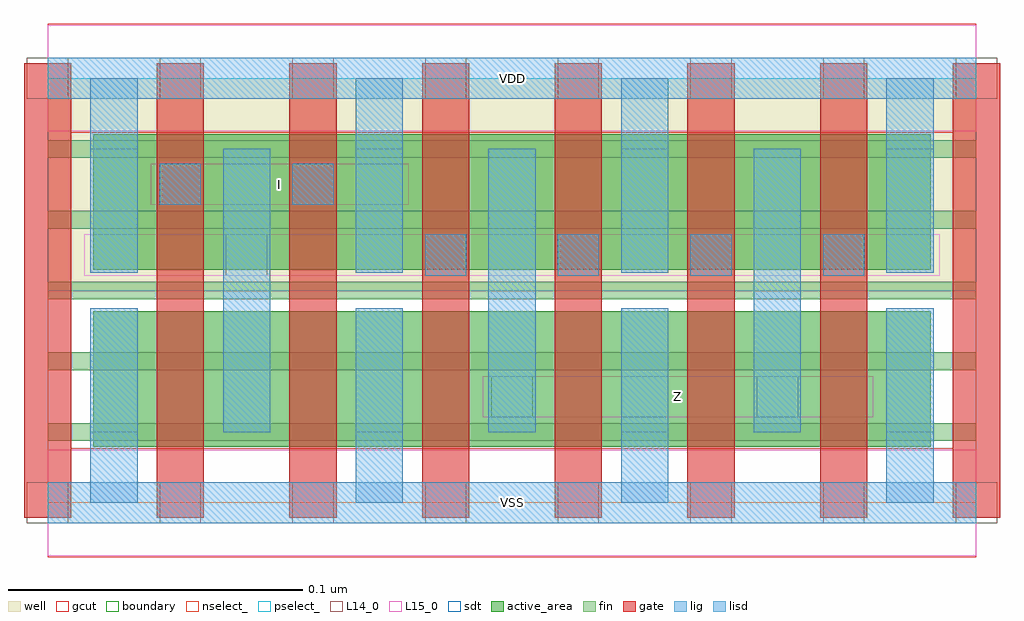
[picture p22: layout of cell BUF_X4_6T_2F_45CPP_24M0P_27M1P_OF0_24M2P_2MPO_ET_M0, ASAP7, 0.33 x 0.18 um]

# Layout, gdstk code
import gdstk
lib = gdstk.Library(unit=1e-6, precision=2.5e-10)
def R(c, l, rs):  # rectangles x0, y0, x1, y1
    for r in rs: c.add(gdstk.rectangle(r[:2], r[2:], *l))
def A(c, l, x, y, w, h, nx, ny, dx, dy):  # array of equal rectangles
    R(c, l, [(x+i*dx, y+j*dy, x+i*dx+w, y+j*dy+h) for i in range(nx) for j in range(ny)])
well = (1, 0)
fin = (2, 0)
gate = (7, 0)
gcut = (10, 0)
active_area = (11, 0)
nselect_ = (12, 0)
pselect_ = (13, 0)
L14_0 = (14, 0)
L15_0 = (15, 0)
lig = (16, 0)
lisd = (17, 0)
sdt = (88, 0)
boundary = (100, 0)

buf_x4_6t_2f_45cpp_24m0p = lib.new_cell('BUF_X4_6T_2F_45CPP_24M0P_27M1P_OF0_24M2P_2MPO_ET_M0')
R(buf_x4_6t_2f_45cpp_24m0p, well, [(0,0.072,0.315,0.144)])
A(buf_x4_6t_2f_45cpp_24m0p, fin, 0, 0.021, 0.315, 0.006, 1, 5, 0, 0.024)
A(buf_x4_6t_2f_45cpp_24m0p, gate, -0.008, -0.005, 0.016, 0.154, 8, 1, 0.045, 0)
R(buf_x4_6t_2f_45cpp_24m0p, gcut, [(0,-0.0185,0.315,0.0185), (-0.008,-0.005,0.008,0.149), (0.307,-0.005,0.323,0.149), (0,0.1255,0.315,0.1625)])
R(buf_x4_6t_2f_45cpp_24m0p, active_area, [(0.0155,0.019,0.1195,0.065), (0.1055,0.019,0.2995,0.065), (0.0155,0.079,0.1195,0.125), (0.1055,0.079,0.2995,0.125)])
R(buf_x4_6t_2f_45cpp_24m0p, nselect_, [(0,0,0.315,0.072)])
R(buf_x4_6t_2f_45cpp_24m0p, pselect_, [(0,0.072,0.315,0.144)])
A(buf_x4_6t_2f_45cpp_24m0p, L14_0, -0.007, -0.007, 0.014, 0.014, 8, 2, 0.045, 0.144)
A(buf_x4_6t_2f_45cpp_24m0p, L14_0, 0.128, 0.077, 0.014, 0.014, 4, 1, 0.045, 0)
R(buf_x4_6t_2f_45cpp_24m0p, L14_0, [(0.1505,0.029,0.1645,0.043), (0.2405,0.029,0.2545,0.043), (0.0605,0.077,0.0745,0.091), (0.038,0.101,0.052,0.115), (0.083,0.101,0.097,0.115)])
R(buf_x4_6t_2f_45cpp_24m0p, L15_0, [(0,-0.018,0.315,0.018), (0.1475,0.029,0.28,0.043), (0.0125,0.077,0.3025,0.091), (0.035,0.101,0.1225,0.115), (0,0.126,0.315,0.162)])
A(buf_x4_6t_2f_45cpp_24m0p, lig, 0.128, 0.077, 0.014, 0.014, 4, 1, 0.045, 0)
R(buf_x4_6t_2f_45cpp_24m0p, lig, [(0,-0.007,0.315,0.007), (0.038,0.101,0.052,0.115), (0.083,0.101,0.097,0.115), (0,0.137,0.315,0.151)])
A(buf_x4_6t_2f_45cpp_24m0p, lisd, 0.0145, 0, 0.016, 0.066, 4, 2, 0.09, 0.078)
A(buf_x4_6t_2f_45cpp_24m0p, lisd, 0.0595, 0.024, 0.016, 0.096, 3, 1, 0.09, 0)
A(buf_x4_6t_2f_45cpp_24m0p, sdt, 0.0145, 0.024, 0.016, 0.042, 4, 2, 0.09, 0.054)
A(buf_x4_6t_2f_45cpp_24m0p, sdt, 0.0595, 0.024, 0.016, 0.096, 3, 1, 0.09, 0)
R(buf_x4_6t_2f_45cpp_24m0p, boundary, [(0,0,0.315,0.144)])
buf_x4_6t_2f_45cpp_24m0p.add(gdstk.Label('I', (0.0788,0.108), layer=15, texttype=251))
buf_x4_6t_2f_45cpp_24m0p.add(gdstk.Label('Z', (0.2137,0.036), layer=15, texttype=251))
buf_x4_6t_2f_45cpp_24m0p.add(gdstk.Label('VDD', (0.1575,0.144), layer=15, texttype=251))
buf_x4_6t_2f_45cpp_24m0p.add(gdstk.Label('VSS', (0.1575,0), layer=15, texttype=251))
buf_x4_6t_2f_45cpp_24m0p.add(gdstk.Label('VDD', (0.1575,0.144), layer=1, texttype=251))
buf_x4_6t_2f_45cpp_24m0p.add(gdstk.Label('VSS', (0.1575,0), layer=3, texttype=251))

lib.write_gds('BUF_X4_6T_2F_45CPP_24M0P_27M1P_OF0_24M2P_2MPO_ET_M0.gds')
